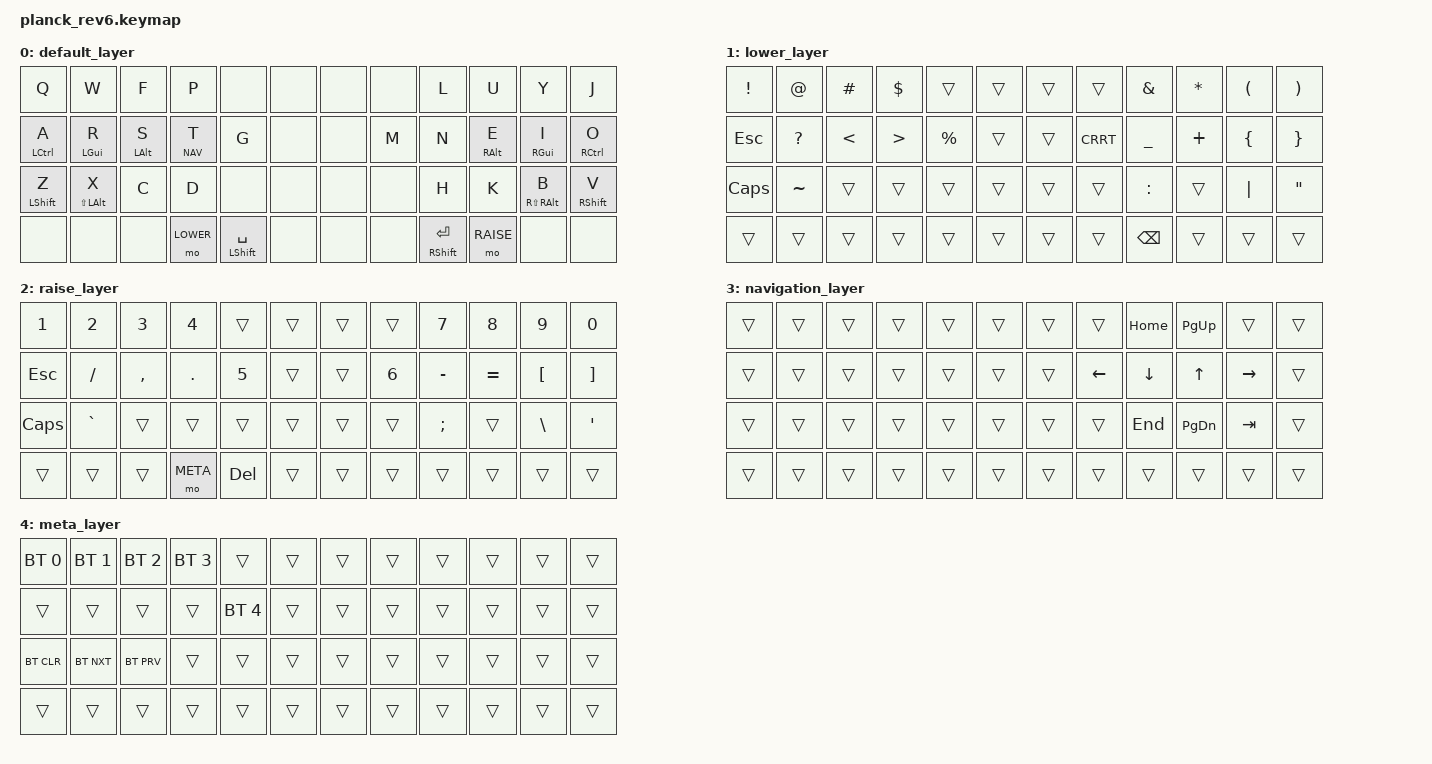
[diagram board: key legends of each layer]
/*
 * Copyright (c) 2020 The ZMK Contributors
 *
 * SPDX-License-Identifier: MIT
 */

#include <behaviors.dtsi>
#include <dt-bindings/zmk/keys.h>
#include <dt-bindings/zmk/bt.h>

#define DEFAULT 0
#define LOWER 1
#define RAISE 2
#define NAV 3
#define META 4
#define ST(keycode) &as LSHFT keycode


&mt {
  flavor = "balanced";
  tapping_term_ms = <200>;
  quick-tap-ms = <175>;
  global-quick-tap;
};


/ { 
    behaviors {
        st: shift-tap {
            compatible = "zmk,behavior-hold-tap";
            label = "SHIFT_TAP";
            #binding-cells = <2>;
            flavor = "balanced";
            tapping-term-ms = <150>;
            quick-tap-ms = <0>;
            bindings = <&kp>, <&kp>;
        };
    };

    keymap {
        compatible = "zmk,keymap";
                
        default_layer {
            bindings = <
            &kp Q        &kp W           &kp F       &kp P      &none          &none  &none  &none  &kp L          &kp U       &kp Y           &kp J 
            &mt LCTRL A  &mt LGUI R      &mt LALT S  &lt NAV T  &kp G          &none  &none  &kp M  &kp N          &mt RALT E  &mt RGUI I      &mt RCTRL O
            &mt LSHFT Z  &mt LS(LALT) X  &kp C       &kp D      &none          &none  &none  &none  &kp H          &kp K       &mt RS(RALT) B  &mt RSHFT V
            &none        &none           &none       &mo LOWER  &st LSHFT SPC  &none  &none  &none  &st RSHFT RET  &mo RAISE   &none           &none
            >;
        };

        lower_layer {
            bindings = <
            &kp EXCL  &kp AT     &kp HASH  &kp DLLR  &trans     &trans  &trans  &trans    &kp AMPS   &kp STAR  &kp LPAR  &kp RPAR 
            &kp ESC   &kp QMARK  &kp LT    &kp GT    &kp PRCNT  &trans  &trans  &kp CRRT  &kp UNDER  &kp PLUS  &kp LBRC  &kp RBRC
            &kp CAPS  &kp TILDE  &trans    &trans    &trans     &trans  &trans  &trans    &kp COLON  &trans    &kp PIPE  &kp DQT
            &trans    &trans     &trans    &trans    &trans     &trans  &trans  &trans    &kp BSPC   &trans    &trans    &trans
            >;
        };    

        raise_layer {
            bindings = <
            &kp N1    &kp N2     &kp N3     &kp N4    &trans   &trans  &trans  &trans  &kp N7     &kp N8     &kp N9    &kp N0
            &kp ESC   &kp SLASH  &kp COMMA  &kp DOT   &kp N5   &trans  &trans  &kp N6  &kp MINUS  &kp EQUAL  &kp LBKT  &kp RBKT
            &kp CAPS  &kp GRAVE  &trans     &trans    &trans   &trans  &trans  &trans  &kp SEMI   &trans     &kp BSLH  &kp SQT
            &trans    &trans     &trans     &mo META  &kp DEL  &trans  &trans  &trans  &trans     &trans     &trans    &trans
            >;
        };

        navigation_layer {
            bindings = <
            &trans  &trans  &trans  &trans  &trans  &trans  &trans  &trans    &kp HOME  &kp PG_UP  &trans     &trans
            &trans  &trans  &trans  &trans  &trans  &trans  &trans  &kp LEFT  &kp DOWN  &kp UP     &kp RIGHT  &trans
            &trans  &trans  &trans  &trans  &trans  &trans  &trans  &trans    &kp END   &kp PG_DN  &kp TAB    &trans
            &trans  &trans  &trans  &trans  &trans  &trans  &trans  &trans    &trans    &trans     &trans     &trans
            >;
        };

        meta_layer {
            bindings = <
            &bt BT_SEL 0  &bt BT_SEL 1  &bt BT_SEL 2  &bt BT_SEL 3  &trans        &trans  &trans  &trans  &trans  &trans  &trans  &trans
            &trans        &trans        &trans        &trans        &bt BT_SEL 4  &trans  &trans  &trans  &trans  &trans  &trans  &trans 
            &bt BT_CLR    &bt BT_NXT    &bt BT_PRV    &trans        &trans        &trans  &trans  &trans  &trans  &trans  &trans  &trans   
            &trans        &trans        &trans        &trans        &trans        &trans  &trans  &trans  &trans  &trans  &trans  &trans   
            >;
        };    
    };
};
